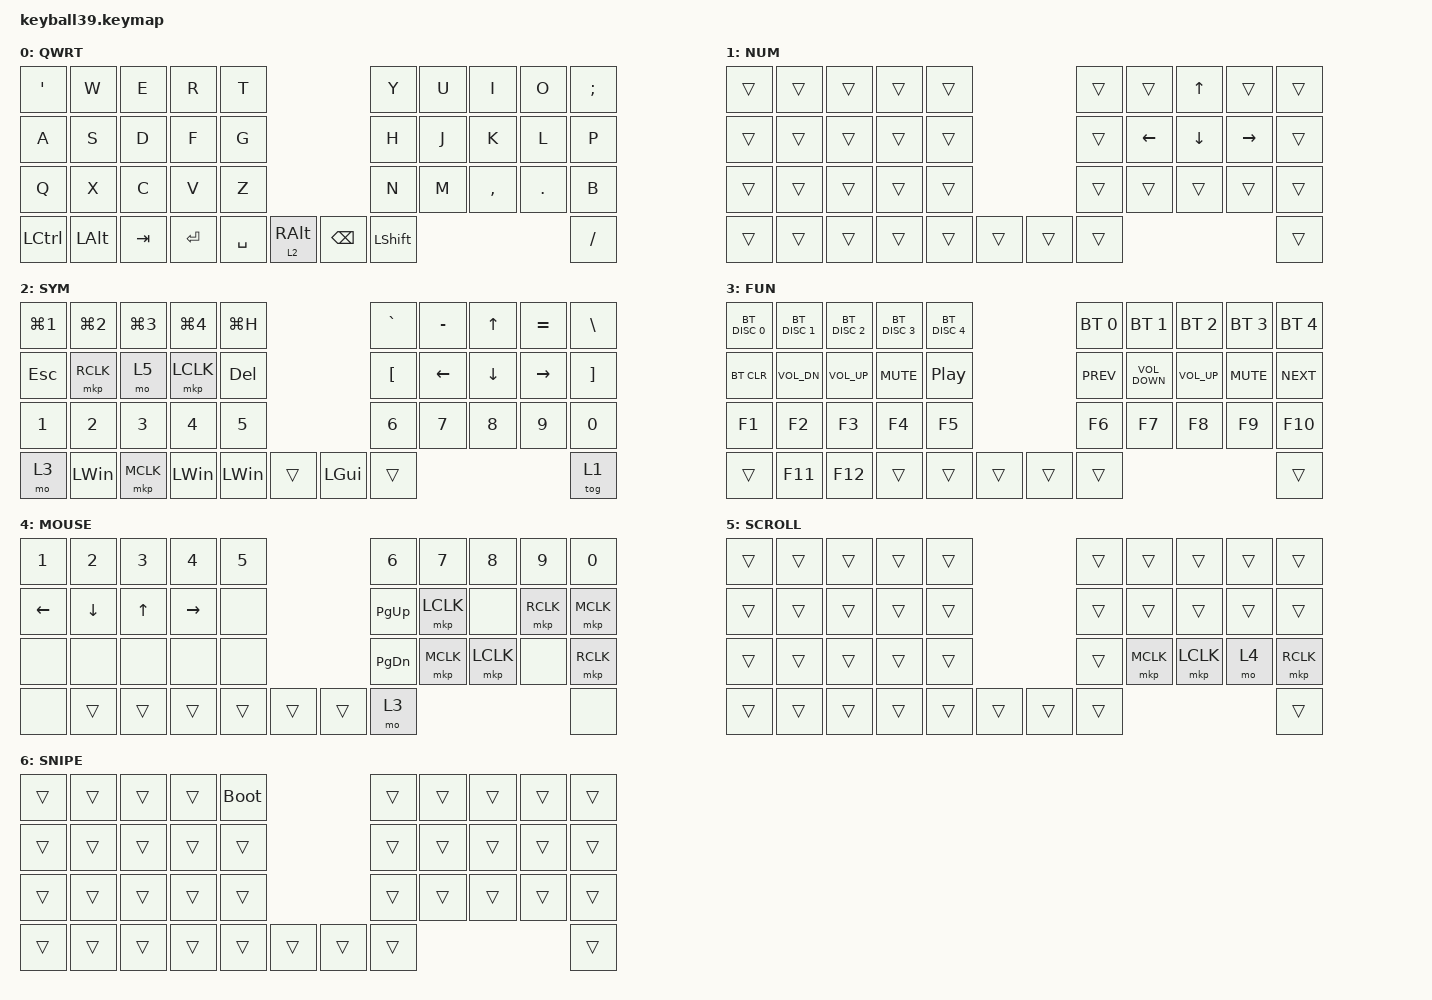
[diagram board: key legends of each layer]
#define DEFAULT 0
#define NUM     1
#define SYM     2
#define FUN     3
#define MOUSE   4
#define SCROLL  5
#define SNIPE   6

#include <behaviors/mouse_keys.dtsi>
#include <dt-bindings/zmk/mouse.h>
#include <behaviors.dtsi>
#include <dt-bindings/zmk/bt.h>
#include <dt-bindings/zmk/keys.h>

&nice_view_spi { cs-gpios = <&pro_micro 1 GPIO_ACTIVE_HIGH>; };

&lt {
    tapping-term-ms = <240>;
    flavor = "balanced";
    quick-tap-ms = <150>;
};

&mt {
    tapping-term-ms = <200>;
    flavor = "tap-preferred";
    quick-tap-ms = <150>;
};

&caps_word { continue-list = <UNDERSCORE MINUS>; };

/ {
    // custom shift using mod-morph 

    behaviors {
        cmqus: comma_question {
            compatible = "zmk,behavior-mod-morph";
            label = "COMMA_QUESTION";
            #binding-cells = <0>;
            bindings = <&kp COMMA>, <&kp QUESTION>;

            mods = <(MOD_LSFT|MOD_RSFT)>;
        };

        dtsmi: dot_semi {
            compatible = "zmk,behavior-mod-morph";
            label = "DOT_SEMI";
            #binding-cells = <0>;
            bindings = <&kp DOT>, <&kp SEMI>;

            mods = <(MOD_LSFT|MOD_RSFT)>;
        };
    };

    macros {
        Hiragana: Hiragana {
            compatible = "zmk,behavior-macro";
            #binding-cells = <0>;
            bindings = <&kp LC(SPACE)>;
            label = "HIRAGANA";
        };
    };

    combos {
        compatible = "zmk,combos";

        bootloader {
            bindings = <&bootloader>;
            key-positions = <30 38>;
        };
    };

    keymap {
        compatible = "zmk,keymap";

        default_layer {
            label = "QWRT";
            bindings = <
&kp SQT    &kp W     &kp E    &kp R      &kp T                                      &kp Y           &kp U  &kp I      &kp O    &kp SEMICOLON
&kp A      &kp S     &kp D    &kp F      &kp G                                      &kp H           &kp J  &kp K      &kp L    &kp P
&kp Q      &kp X     &kp C    &kp V      &kp Z                                      &kp N           &kp M  &kp COMMA  &kp DOT  &kp B
&kp LCTRL  &kp LALT  &kp TAB  &kp ENTER  &kp SPACE  &lt 2 RIGHT_ALT  &kp BACKSPACE  &kp LEFT_SHIFT                             &kp SLASH
            >;
        };

        number_layer {
            label = "NUM";
            bindings = <
&trans  &trans  &trans  &trans  &trans                  &trans  &trans    &kp UP_ARROW  &trans     &trans
&trans  &trans  &trans  &trans  &trans                  &trans  &kp LEFT  &kp DOWN      &kp RIGHT  &trans
&trans  &trans  &trans  &trans  &trans                  &trans  &trans    &trans        &trans     &trans
&trans  &trans  &trans  &trans  &trans  &trans  &trans  &trans                                     &trans
            >;
        };

        symbol_layer {
            label = "SYM";
            bindings = <
&kp LG(NUMBER_1)  &kp LG(NUMBER_2)  &kp LG(N3)  &kp LG(N4)    &kp LG(H)                       &kp GRAVE         &kp MINUS  &kp UP_ARROW  &kp EQUAL  &kp BACKSLASH
&kp ESCAPE        &mkp RCLK         &mo 5       &mkp LCLK     &kp DEL                         &kp LEFT_BRACKET  &kp LEFT   &kp DOWN      &kp RIGHT  &kp RIGHT_BRACKET
&kp N1            &kp N2            &kp N3      &kp N4        &kp N5                          &kp N6            &kp N7     &kp N8        &kp N9     &kp N0
&mo 3             &kp LEFT_WIN      &mkp MCLK   &kp LEFT_WIN  &kp LEFT_WIN  &trans  &kp LGUI  &trans                                                &tog 1
            >;
        };

        function_layer {
            label = "FUN";
            bindings = <
&bt BT_DISC 0  &bt BT_DISC 1  &bt BT_DISC 2  &bt BT_DISC 3  &bt BT_DISC 4                     &bt BT_SEL 0  &bt BT_SEL 1       &bt BT_SEL 2     &bt BT_SEL 3  &bt BT_SEL 4
&bt BT_CLR     &kp C_VOL_DN   &kp C_VOL_UP   &kp C_MUTE     &kp C_PLAY_PAUSE                  &kp C_PREV    &kp C_VOLUME_DOWN  &kp C_VOLUME_UP  &kp C_MUTE    &kp C_NEXT
&kp F1         &kp F2         &kp F3         &kp F4         &kp F5                            &kp F6        &kp F7             &kp F8           &kp F9        &kp F10
&trans         &kp F11        &kp F12        &trans         &trans            &trans  &trans  &trans                                                          &trans
            >;
        };

        mouse_layer {
            label = "MOUSE";
            bindings = <
&kp N1          &kp N2          &kp N3        &kp N4     &kp N5                  &kp N6         &kp N7     &kp N8     &kp N9     &kp N0
&kp LEFT_ARROW  &kp DOWN_ARROW  &kp UP_ARROW  &kp RIGHT  &none                   &kp PAGE_UP    &mkp LCLK  &none      &mkp RCLK  &mkp MCLK
&none           &none           &none         &none      &none                   &kp PAGE_DOWN  &mkp MCLK  &mkp LCLK  &none      &mkp RCLK
&none           &trans          &trans        &trans     &trans  &trans  &trans  &mo 3                                           &none
            >;
        };

        scroll_layer {
            label = "SCROLL";
            bindings = <
&trans  &trans  &trans  &trans  &trans                  &trans  &trans     &trans     &trans  &trans
&trans  &trans  &trans  &trans  &trans                  &trans  &trans     &trans     &trans  &trans
&trans  &trans  &trans  &trans  &trans                  &trans  &mkp MCLK  &mkp LCLK  &mo 4   &mkp RCLK
&trans  &trans  &trans  &trans  &trans  &trans  &trans  &trans                                &trans
            >;
        };

        snipe_layer {
            label = "SNIPE";
            bindings = <
&trans  &trans  &trans  &trans  &bootloader                  &trans  &trans  &trans  &trans  &trans
&trans  &trans  &trans  &trans  &trans                       &trans  &trans  &trans  &trans  &trans
&trans  &trans  &trans  &trans  &trans                       &trans  &trans  &trans  &trans  &trans
&trans  &trans  &trans  &trans  &trans       &trans  &trans  &trans                          &trans
            >;
        };
    };
};
